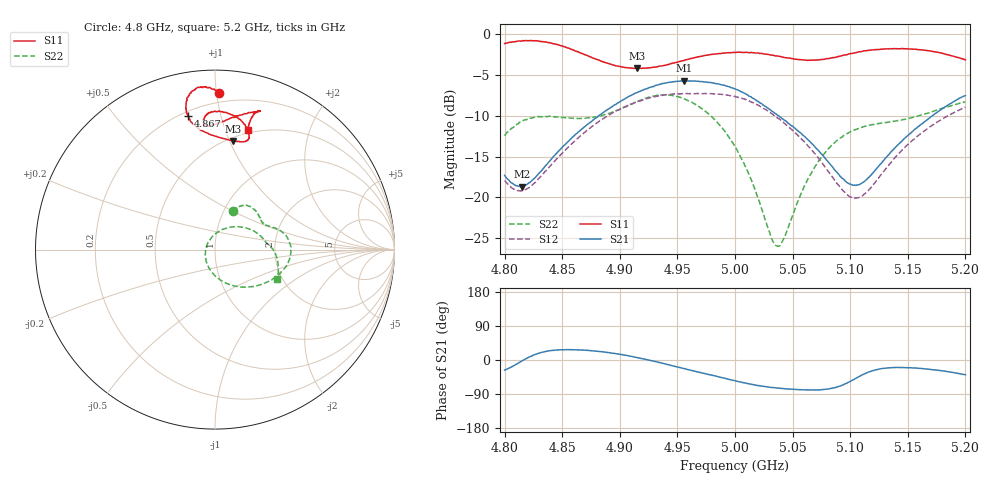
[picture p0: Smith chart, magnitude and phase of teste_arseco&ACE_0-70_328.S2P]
! Network Analyzer HP8722D
! Hewlett-Packard
! Data name: Linha & Wilkinson
! Saver's name: Rodrigo Anjos
! Comments: Teste da utilização de aquisição
! continua pelo VNA HP8722D
! Time and date: 8/5/2025 15:29
!  Frequency  S11  S21  S12  S22
# HZ  S  MA R 50
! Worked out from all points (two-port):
!   401 points, 4.8 GHz to 5.2 GHz, reference 50 ohm
!   highest |S21| = -5.75 dB at 4.956 GHz (marker M1); lowest = -18.7 dB at 4.815 GHz (marker M2)
!   |S21| within 3 dB of the highest: 4.895 GHz to 5.025 GHz (130.2 MHz wide, 2.63 % of centre); 5.184242 GHz to end of sweep
!   lowest |S11| = -4.2 dB at 4.915 GHz (marker M3), VSWR 4.18, Z = 26.5 + j51.5 ohm
!   |S11| at or under -10 dB: nowhere
!   |S22| runs from -26.0 to -7.4 dB; largest |S21 - S12| = 0.89
!   S11 on the Smith chart (normalised r, x): 4.8 GHz: 0.14, +1.02; 4.867 GHz: 0.23, +0.79; 5.2 GHz: 0.47, +1.20
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4.8e9  0.8725 88.4  0.1363 -26.7  0.127 100.7  0.2382 64.6
4.815e9  0.9032 92.8  0.1165 -2.6  0.1098 121.9  0.2917 57.4
4.845e9  0.8614 100.3  0.1856 26.4  0.1714 150.1  0.3114 39.6
4.867e9  0.7579 101.4  0.2617 26.2  0.241 153.4  0.3044 30.2
4.893e9  0.6487 93.3  0.3579 18.2  0.3262 148.5  0.3307 23.2
4.915e9  0.6139 80.5  0.4374 6.5  0.3841 139.7  0.3849 15.1
4.934e9  0.6333 73.7  0.4884 -6.6  0.4187 129.4  0.4208 2.9
4.956e9  0.687 74.4  0.516 -22.8  0.4324 115.5  0.3996 -15.5
4.981e9  0.7503 81.2  0.4993 -41.1  0.4297 99.5  0.3049 -41.5
5e9  0.7701 87.5  0.4606 -54.9  0.415 86.3  0.2041 -69.3
5.019e9  0.7638 92.3  0.3897 -67.0  0.3696 73.3  0.1035 -110.6
5.031e9  0.7423 94.2  0.3411 -72.4  0.328 66.5  0.05803 -157.6
5.037e9  0.7313 94.8  0.3181 -74.0  0.3054 63.8  0.05038 163.8
5.043e9  0.7155 95.0  0.2958 -75.8  0.2831 61.8  0.05728 126.8
5.055e9  0.6959 94.6  0.2541 -78.2  0.2377 58.6  0.09636 82.8
5.067e9  0.6913 92.7  0.2125 -79.1  0.1936 58.0  0.1442 58.6
5.083e9  0.711 87.6  0.1583 -75.4  0.1381 63.4  0.2045 36.9
5.103e9  0.763 79.3  0.1185 -51.7  0.09925 90.6  0.2575 19.5
5.115e9  0.7907 75.2  0.1303 -33.0  0.1089 111.6  0.2745 13.0
5.134e9  0.8087 72.4  0.1844 -20.6  0.1592 125.9  0.2895 7.3
5.17e9  0.785 73.9  0.3103 -24.7  0.2723 120.5  0.3324 -2.5
5.2e9  0.6926 74.7  0.4192 -39.0  0.3567 108.9  0.3834 -25.7
